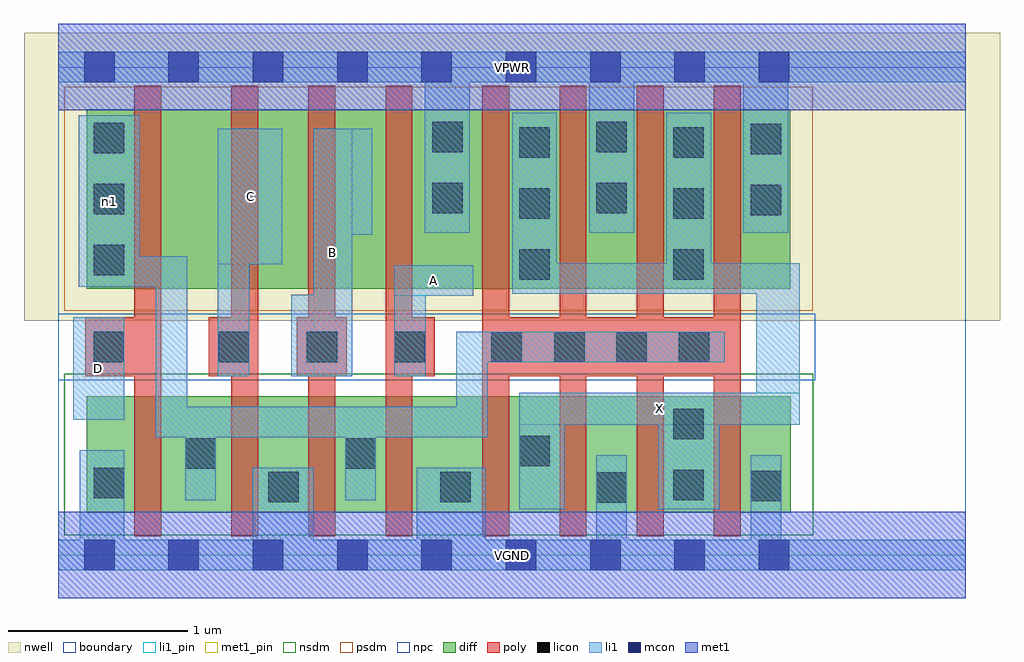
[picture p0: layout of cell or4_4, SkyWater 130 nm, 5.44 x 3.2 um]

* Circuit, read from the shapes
.subckt or4_4 A B C D VGND VPWR X n1
XM1 n1 D VGND VSUBS sky130_fd_pr__nfet_01v8 w=0.65 l=0.15
XM2 VGND C n1 VSUBS sky130_fd_pr__nfet_01v8 w=0.65 l=0.15
XM3 n1 B VGND VSUBS sky130_fd_pr__nfet_01v8 w=0.65 l=0.15
XM4 VGND A n1 VSUBS sky130_fd_pr__nfet_01v8 w=0.65 l=0.15
XM5 X n1 VGND VSUBS sky130_fd_pr__nfet_01v8 w=0.65 l=0.15 m=4
XM6 n2 D n1 n3 sky130_fd_pr__pfet_01v8 w=1 l=0.15
XM7 n4 C n2 n3 sky130_fd_pr__pfet_01v8 w=1 l=0.15
XM8 n5 B n4 n3 sky130_fd_pr__pfet_01v8 w=1 l=0.15
XM9 VPWR A n5 n3 sky130_fd_pr__pfet_01v8 w=1 l=0.15
XM10 X n1 VPWR n3 sky130_fd_pr__pfet_01v8 w=1 l=0.15 m=4
.ends

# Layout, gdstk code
import gdstk
lib = gdstk.Library(unit=1e-6, precision=1e-09)
def R(c, l, rs):  # rectangles x0, y0, x1, y1
    for r in rs: c.add(gdstk.rectangle(r[:2], r[2:], *l))
def A(c, l, x, y, w, h, nx, ny, dx, dy):  # array of equal rectangles
    R(c, l, [(x+i*dx, y+j*dy, x+i*dx+w, y+j*dy+h) for i in range(nx) for j in range(ny)])
nwell = (64, 20)
diff = (65, 20)
poly = (66, 20)
licon = (66, 44)
li1_pin = (67, 16)
li1 = (67, 20)
mcon = (67, 44)
met1_pin = (68, 16)
met1 = (68, 20)
nsdm = (93, 44)
psdm = (94, 20)
npc = (95, 20)
boundary = (235, 4)

or4_4 = lib.new_cell('or4_4')
R(or4_4, nwell, [(-0.19,1.305,5.25,2.91), (0,1.305,5.06,2.91)])
R(or4_4, diff, [(0.16,0.235,4.085,0.885), (0.16,1.485,4.08,2.485)])
A(or4_4, poly, 0.965, 0.105, 0.15, 2.51, 3, 1, 0.43, 0)
A(or4_4, poly, 2.365, 0.105, 0.15, 2.51, 4, 1, 0.43, 0)
R(or4_4, poly, [(0.425,0.105,0.575,2.615), (0.15,0.995,0.575,1.325), (0.84,0.995,1.115,1.325), (1.33,0.995,1.61,1.325), (1.825,0.995,2.1,1.325), (2.365,0.995,3.805,1.325)])
A(or4_4, licon, 0.895, 1.075, 0.17, 0.17, 3, 1, 0.49, 0)
A(or4_4, licon, 2.57, 1.535, 0.17, 0.17, 1, 3, 0, 0.34)
A(or4_4, licon, 3.43, 1.535, 0.17, 0.17, 1, 3, 0, 0.34)
A(or4_4, licon, 0.2, 1.56, 0.17, 0.17, 1, 3, 0, 0.34)
R(or4_4, licon, [(3,0.29,3.17,0.46), (1.17,0.295,1.34,0.465), (2.13,0.295,2.3,0.465), (3.86,0.3,4.03,0.47), (3.43,0.305,3.6,0.475), (0.2,0.315,0.37,0.485), (0.71,0.48,0.88,0.65), (1.6,0.48,1.77,0.65), (2.57,0.495,2.74,0.665), (3.43,0.645,3.6,0.815), (0.2,1.075,0.37,1.245), (2.415,1.075,2.585,1.245), (2.765,1.075,2.935,1.245), (3.11,1.075,3.28,1.245), (3.46,1.075,3.63,1.245), (3.86,1.895,4.03,2.065), (2.085,1.905,2.255,2.075), (3,1.905,3.17,2.075), (3.86,2.235,4.03,2.405), (2.085,2.245,2.255,2.415), (3,2.245,3.17,2.415)])
R(or4_4, li1_pin, [(2.57,0.725,4.135,0.905), (0.085,0.755,0.37,1.325), (1.425,0.995,1.64,2.375), (1.875,1.445,2.315,1.615), (0.89,1.62,1.25,2.375)])
R(or4_4, li1, [(0,-0.085,5.06,0.085), (0.12,-0.085,0.37,0.585), (1.085,-0.085,1.425,0.485), (2,-0.085,2.385,0.485), (3,-0.085,3.17,0.555), (3.86,-0.085,4.03,0.555), (2.57,0.255,2.825,0.905), (3.345,0.255,3.685,0.905), (0.71,0.305,0.88,0.825), (1.6,0.305,1.77,0.825), (0.545,0.655,2.395,0.825), (0.545,0.655,0.72,1.665), (2.22,0.655,2.395,1.245), (2.57,0.725,4.135,0.905), (3.89,0.725,4.135,1.625), (0.085,0.755,0.37,1.325), (0.89,0.995,1.065,2.375), (1.3,0.995,1.64,1.45), (1.425,0.995,1.64,2.375), (1.875,0.995,2.05,1.615), (2.22,1.075,3.715,1.245), (1.875,1.445,2.315,1.615), (2.53,1.455,4.135,1.625), (2.53,1.455,2.78,2.465), (3.39,1.455,3.64,2.465), (0.115,1.495,0.455,2.45), (0.115,1.495,0.72,1.665), (0.89,1.62,1.25,2.375), (1.425,1.785,1.75,2.375), (2.045,1.795,2.295,2.805), (2.96,1.795,3.21,2.805), (3.82,1.795,4.07,2.805), (0,2.635,5.06,2.805)])
A(or4_4, mcon, 0.145, -0.085, 0.17, 0.17, 9, 2, 0.47, 2.72)
R(or4_4, met1_pin, [(0,-0.24,5.06,0.24), (0,2.48,5.06,2.96)])
R(or4_4, met1, [(0,-0.24,5.06,0.24), (0,2.48,5.06,2.96)])
R(or4_4, nsdm, [(0.035,0.11,4.21,1.01)])
R(or4_4, psdm, [(0.035,1.36,4.205,2.61)])
R(or4_4, npc, [(0,0.975,4.22,1.345)])
R(or4_4, boundary, [(0,0,5.06,2.72)])
or4_4.add(gdstk.Label('A', (2.095,1.53), layer=67, texttype=5))
or4_4.add(gdstk.Label('B', (1.532,1.685), layer=67, texttype=5))
or4_4.add(gdstk.Label('C', (1.07,1.997), layer=67, texttype=5))
or4_4.add(gdstk.Label('D', (0.227,1.04), layer=67, texttype=5))
or4_4.add(gdstk.Label('X', (3.352,0.815), layer=67, texttype=5))
or4_4.add(gdstk.Label('n1', (0.285,1.972), layer=67, texttype=5))
or4_4.add(gdstk.Label('VPWR', (2.53,2.72), layer=68, texttype=5))
or4_4.add(gdstk.Label('VGND', (2.53,0), layer=68, texttype=5))
or4_4.add(gdstk.Label('A', (2.095,1.53), layer=67, texttype=16))
or4_4.add(gdstk.Label('B', (1.532,1.685), layer=67, texttype=16))
or4_4.add(gdstk.Label('C', (1.07,1.997), layer=67, texttype=16))
or4_4.add(gdstk.Label('D', (0.227,1.04), layer=67, texttype=16))
or4_4.add(gdstk.Label('X', (3.352,0.815), layer=67, texttype=16))
or4_4.add(gdstk.Label('VPWR', (2.53,2.72), layer=68, texttype=16))
or4_4.add(gdstk.Label('VGND', (2.53,0), layer=68, texttype=16))

lib.write_gds('or4_4.gds')
